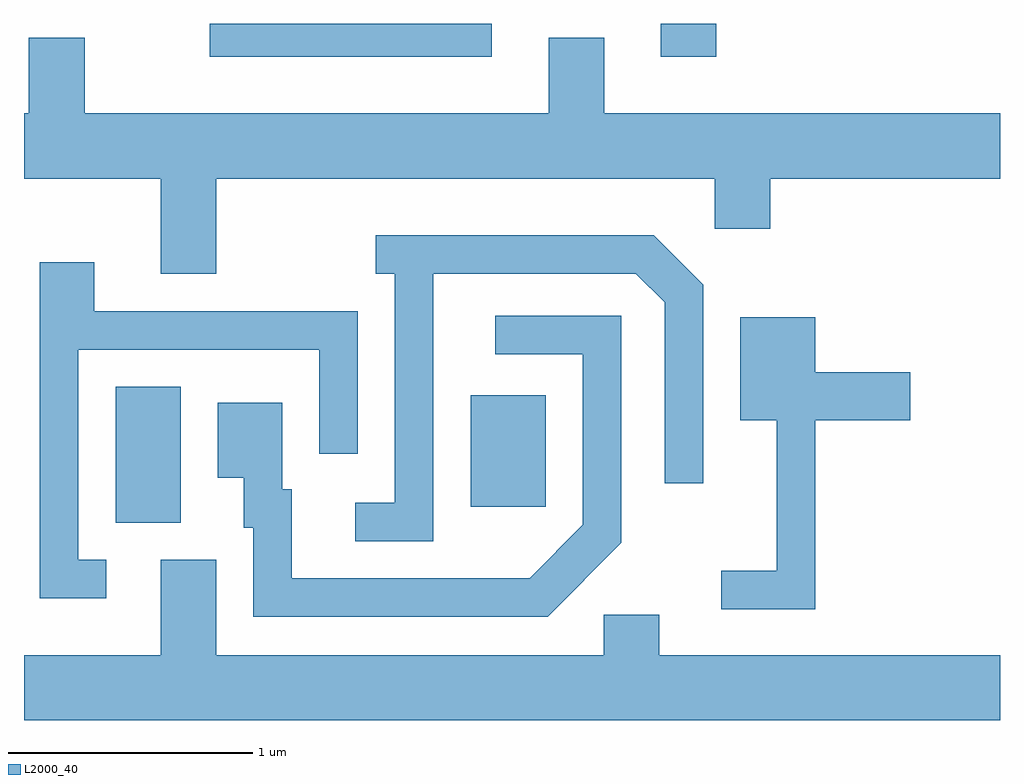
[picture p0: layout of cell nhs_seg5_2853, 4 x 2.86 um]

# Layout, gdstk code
import gdstk
lib = gdstk.Library(unit=1e-6, precision=1e-09)
def R(c, l, rs):  # rectangles x0, y0, x1, y1
    for r in rs: c.add(gdstk.rectangle(r[:2], r[2:], *l))
def P(c, l, *ps):  # polygons
    for p in ps: c.add(gdstk.Polygon(p, *l))
L2000_40 = (2000, 40)

nhs_seg5_2853 = lib.new_cell('nhs_seg5_2853')
R(nhs_seg5_2853, L2000_40, [(269.986,1482.026,270.254,1482.584), (271.441,1482.091,271.749,1482.549), (270.373,1483.936,271.529,1484.072), (272.221,1483.936,272.449,1484.072)])
P(nhs_seg5_2853, L2000_40, [(270.399,1483.436),(272.441,1483.436),(272.441,1483.231),(272.669,1483.231),(272.669,1483.436),(273.611,1483.436),(273.611,1483.704),(271.989,1483.704),(271.989,1484.014),(271.761,1484.014),(271.761,1483.704),(269.859,1483.704),(269.859,1484.014),(269.631,1484.014),(269.631,1483.704),(269.611,1483.704),(269.611,1483.436),(270.171,1483.436),(270.171,1483.046),(270.399,1483.046)],
  [(271.289,1483.046),(272.119,1483.046),(272.236,1482.929),(272.236,1482.188),(272.394,1482.188),(272.394,1483.002),(272.192,1483.204),(271.053,1483.204),(271.053,1483.046),(271.131,1483.046),(271.131,1482.109),(270.968,1482.109),(270.968,1481.951),(271.289,1481.951)],
  [(269.948,1481.874),(269.834,1481.874),(269.834,1482.736),(270.821,1482.736),(270.821,1482.308),(270.979,1482.308),(270.979,1482.894),(269.899,1482.894),(269.899,1483.094),(269.676,1483.094),(269.676,1481.716),(269.948,1481.716)],
  [(272.059,1481.944),(272.059,1482.874),(271.543,1482.874),(271.543,1482.716),(271.901,1482.716),(271.901,1482.017),(271.684,1481.799),(270.709,1481.799),(270.709,1482.164),(270.669,1482.164),(270.669,1482.519),(270.406,1482.519),(270.406,1482.211),(270.511,1482.211),(270.511,1482.006),(270.551,1482.006),(270.551,1481.641),(271.757,1481.641)],
  [(272.854,1482.446),(273.244,1482.446),(273.244,1482.644),(272.854,1482.644),(272.854,1482.869),(272.546,1482.869),(272.546,1482.446),(272.696,1482.446),(272.696,1481.829),(272.468,1481.829),(272.468,1481.671),(272.854,1481.671)],
  [(273.611,1481.484),(272.214,1481.484),(272.214,1481.649),(271.986,1481.649),(271.986,1481.484),(270.399,1481.484),(270.399,1481.874),(270.171,1481.874),(270.171,1481.484),(269.611,1481.484),(269.611,1481.216),(273.611,1481.216)])

lib.write_gds('nhs_seg5_2853.gds')
